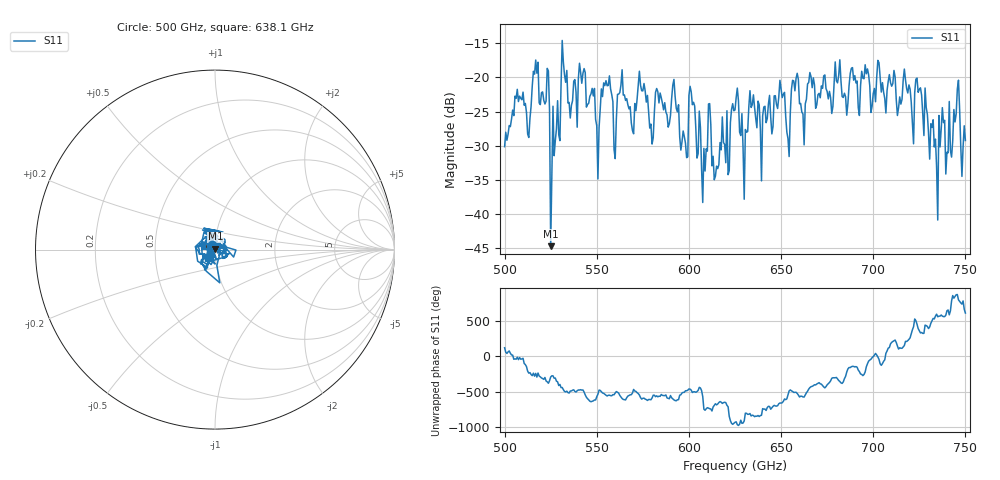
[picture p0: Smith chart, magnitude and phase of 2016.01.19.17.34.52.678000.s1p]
!Created with skrf (http://scikit-rf.org).
# GHz S RI R 50.0
!freq ReS11 ImS11
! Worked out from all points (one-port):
!   401 points, 500 GHz to 750 GHz, reference 50 ohm
!   lowest |S11| = -44.8 dB at 525 GHz (marker M1), VSWR 1.01, Z = 50.2 + j0.533 ohm
!   |S11| at or under -10 dB: start of sweep to end of sweep
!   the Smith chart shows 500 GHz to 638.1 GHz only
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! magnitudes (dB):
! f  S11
! 500 GHz  -30.2
! 506.9 GHz  -21.7
! 513.1 GHz  -28.8
! 516.9 GHz  -17.4
! 523.1 GHz  -18.7
! 525 GHz  -44.8
! 526.2 GHz  -24.2
! 531.2 GHz  -14.6
! 541.9 GHz  -20.8
! 550.6 GHz  -34.9
! 562.5 GHz  -22.2
! 593.8 GHz  -25.0
! 598.1 GHz  -29.6
! 601.2 GHz  -22.1
! 608.1 GHz  -30.4
! 610.6 GHz  -23.9
! 615 GHz  -33.0
! 625 GHz  -24.8
! 630.6 GHz  -27.6
! 633.8 GHz  -24.4
! 650.6 GHz  -23.0
! 653.8 GHz  -29.0
! 656.2 GHz  -20.4
! 687.5 GHz  -19.4
! 718.8 GHz  -22.3
! 733.8 GHz  -29.0
! 745 GHz  -25.3
! 750 GHz  -29.2
